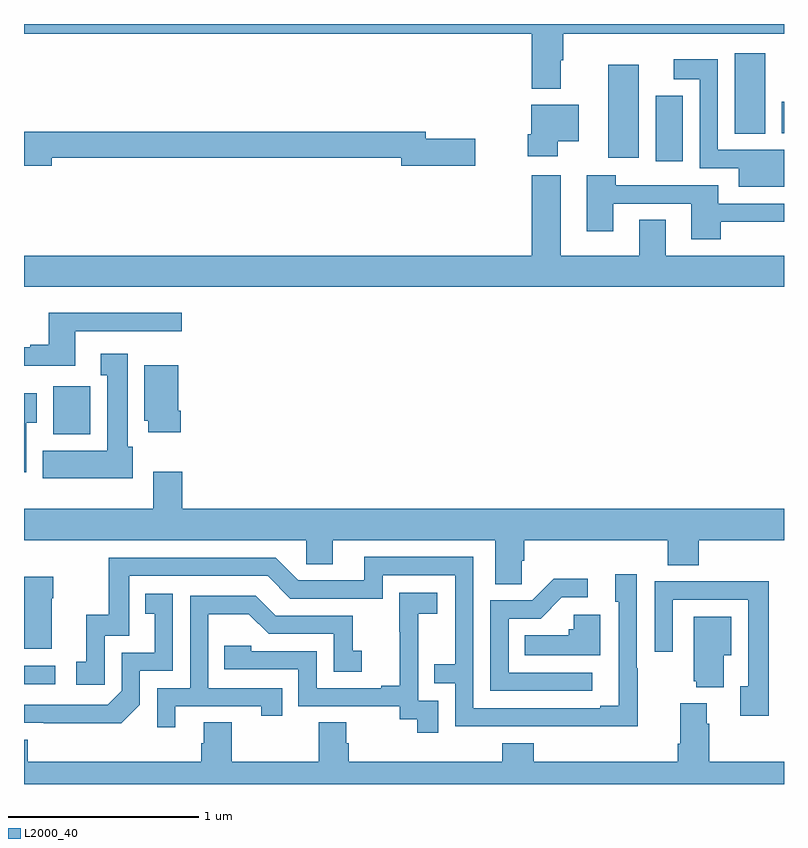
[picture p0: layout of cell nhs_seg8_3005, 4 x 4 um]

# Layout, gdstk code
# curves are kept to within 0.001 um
import gdstk
lib = gdstk.Library(unit=1e-6, precision=1e-09)
def R(c, l, rs):  # rectangles x0, y0, x1, y1
    for r in rs: c.add(gdstk.rectangle(r[:2], r[2:], *l))
def P(c, l, *ps):  # polygons
    for p in ps: c.add(gdstk.Polygon(p, *l))
L2000_40 = (2000, 40)

nhs_seg8_3005 = lib.new_cell('nhs_seg8_3005')
R(nhs_seg8_3005, L2000_40, [(299,1098.426,299.164,1098.522), (299.153,1099.742,299.349,1099.993), (302.324,1101.177,302.467,1101.523), (302.075,1101.195,302.236,1101.685), (302.741,1101.323,302.902,1101.745), (302.987,1101.326,303,1101.49)])
P(nhs_seg8_3005, L2000_40, [(301.825,1101.71),(301.838,1101.71),(301.838,1101.848),(303,1101.848),(303,1101.9),(299,1101.9),(299,1101.848),(301.673,1101.848),(301.673,1101.56),(301.825,1101.56)],
  [(303,1101.238),(302.898,1101.238),(302.898,1101.237),(302.652,1101.237),(302.652,1101.715),(302.421,1101.715),(302.421,1101.608),(302.556,1101.608),(302.556,1101.141),(302.762,1101.141),(302.762,1101.044),(303,1101.044)],
  [(301.81,1101.284),(301.921,1101.284),(301.921,1101.475),(301.67,1101.475),(301.67,1101.321),(301.652,1101.321),(301.652,1101.203),(301.81,1101.203)],
  [(299.146,1101.196),(300.986,1101.196),(300.986,1101.154),(301.375,1101.154),(301.375,1101.296),(301.114,1101.296),(301.114,1101.332),(299,1101.332),(299,1101.154),(299.146,1101.154)],
  [(303,1100.68),(302.377,1100.68),(302.377,1100.87),(302.237,1100.87),(302.237,1100.68),(301.825,1100.68),(301.825,1101.103),(301.673,1101.103),(301.673,1100.68),(299,1100.68),(299,1100.516),(303,1100.516)],
  [(302.666,1100.858),(303,1100.858),(303,1100.955),(302.653,1100.955),(302.653,1101.051),(302.114,1101.051),(302.114,1101.103),(301.961,1101.103),(301.961,1100.808),(302.101,1100.808),(302.101,1100.955),(302.513,1100.955),(302.513,1100.766),(302.666,1100.766)],
  [(299.269,1100.283),(299.83,1100.283),(299.83,1100.38),(299.129,1100.38),(299.129,1100.212),(299.033,1100.212),(299.033,1100.199),(299,1100.199),(299,1100.102),(299.269,1100.102)],
  [(299.572,1099.674),(299.545,1099.674),(299.545,1100.164),(299.405,1100.164),(299.405,1100.051),(299.438,1100.051),(299.438,1099.654),(299.099,1099.654),(299.099,1099.508),(299.572,1099.508)],
  [(299.825,1099.864),(299.812,1099.864),(299.812,1100.104),(299.633,1100.104),(299.633,1099.812),(299.654,1099.812),(299.654,1099.752),(299.825,1099.752)],
  [(299.011,1099.801),(299.068,1099.801),(299.068,1099.957),(299,1099.957),(299,1099.542),(299.011,1099.542)],
  [(301.62,1099.075),(301.634,1099.075),(301.634,1099.184),(302.387,1099.184),(302.387,1099.051),(302.552,1099.051),(302.552,1099.184),(303,1099.184),(303,1099.348),(299.834,1099.348),(299.834,1099.543),(299.681,1099.543),(299.681,1099.348),(299,1099.348),(299,1099.184),(300.486,1099.184),(300.486,1099.057),(300.625,1099.057),(300.625,1099.184),(301.481,1099.184),(301.481,1098.952),(301.62,1098.952)],
  [(302.229,1098.509),(302.226,1098.509),(302.226,1099.003),(302.111,1099.003),(302.111,1098.858),(302.13,1098.858),(302.13,1098.313),(302.033,1098.313),(302.033,1098.3),(301.365,1098.3),(301.365,1099.095),(300.791,1099.095),(300.791,1098.972),(300.444,1098.972),(300.324,1099.092),(299.445,1099.092),(299.445,1098.79),(299.327,1098.79),(299.327,1098.543),(299.274,1098.543),(299.274,1098.423),(299.424,1098.423),(299.424,1098.681),(299.553,1098.681),(299.553,1098.996),(300.282,1098.996),(300.402,1098.876),(300.888,1098.876),(300.888,1098.999),(301.269,1098.999),(301.269,1098.53),(301.159,1098.53),(301.159,1098.429),(301.269,1098.429),(301.269,1098.204),(302.229,1098.203)],
  [(299.146,1098.878),(299.154,1098.878),(299.154,1098.991),(299,1098.991),(299,1098.611),(299.146,1098.611)],
  [(301.99,1098.486),(301.551,1098.486),(301.551,1098.771),(301.72,1098.771),(301.831,1098.882),(301.966,1098.882),(301.966,1098.98),(301.787,1098.98),(301.674,1098.867),(301.455,1098.867),(301.455,1098.39),(301.99,1098.39)],
  [(302.92,1098.968),(302.635,1098.968),(302.635,1098.966),(302.319,1098.966),(302.319,1098.597),(302.415,1098.597),(302.415,1098.87),(302.811,1098.87),(302.811,1098.414),(302.771,1098.414),(302.771,1098.258),(302.92,1098.258)],
  [(301.179,1098.339),(301.074,1098.339),(301.074,1098.569),(301.076,1098.569),(301.076,1098.797),(301.174,1098.797),(301.174,1098.907),(300.976,1098.907),(300.976,1098.701),(300.977,1098.701),(300.977,1098.418),(300.881,1098.418),(300.881,1098.405),(300.54,1098.405),(300.54,1098.6),(300.195,1098.6),(300.195,1098.627),(300.055,1098.627),(300.055,1098.504),(300.444,1098.504),(300.444,1098.309),(300.978,1098.309),(300.978,1098.241),(301.071,1098.241),(301.071,1098.171),(301.179,1098.171)],
  [(299.61,1098.318),(299.61,1098.495),(299.784,1098.495),(299.784,1098.901),(299.638,1098.901),(299.638,1098.795),(299.687,1098.795),(299.687,1098.591),(299.514,1098.591),(299.514,1098.39),(299.442,1098.318),(299,1098.318),(299,1098.222),(299.512,1098.221)],
  [(299.797,1098.309),(300.248,1098.309),(300.248,1098.258),(300.359,1098.258),(300.359,1098.405),(299.97,1098.405),(299.97,1098.794),(300.184,1098.794),(300.288,1098.69),(300.63,1098.69),(300.63,1098.492),(300.778,1098.492),(300.778,1098.601),(300.729,1098.601),(300.729,1098.786),(300.325,1098.786),(300.22,1098.891),(299.874,1098.891),(299.874,1098.405),(299.7,1098.405),(299.7,1098.198),(299.797,1098.198)],
  [(302.032,1098.79),(301.893,1098.79),(301.893,1098.714),(301.867,1098.714),(301.867,1098.682),(301.636,1098.682),(301.636,1098.578),(302.032,1098.578)],
  [(302.683,1098.578),(302.722,1098.578),(302.722,1098.781),(302.525,1098.781),(302.525,1098.441),(302.537,1098.441),(302.537,1098.41),(302.683,1098.41)],
  [(302.453,1098.325),(302.453,1098.112),(302.441,1098.112),(302.441,1098.016),(301.682,1098.016),(301.682,1098.115),(301.517,1098.115),(301.517,1098.016),(300.71,1098.016),(300.71,1098.114),(300.697,1098.114),(300.697,1098.224),(300.55,1098.224),(300.55,1098.016),(300.093,1098.016),(300.093,1098.224),(299.945,1098.224),(299.945,1098.114),(299.933,1098.114),(299.933,1098.016),(299.021,1098.016),(299.021,1098.133),(299,1098.133),(299,1097.9),(303,1097.9),(303,1098.016),(302.606,1098.016),(302.606,1098.218),(302.593,1098.218),(302.593,1098.325)])

lib.write_gds('nhs_seg8_3005.gds')
